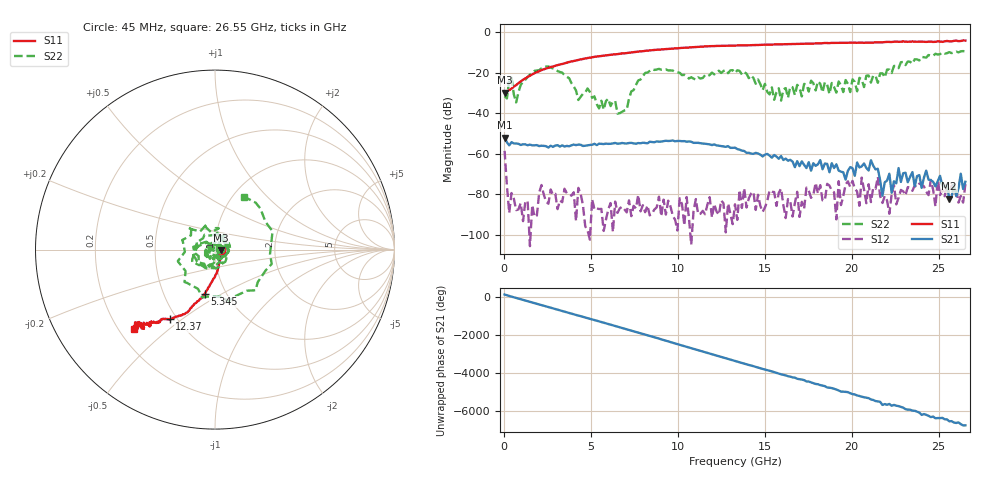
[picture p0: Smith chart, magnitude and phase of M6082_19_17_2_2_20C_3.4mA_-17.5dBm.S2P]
!  2-Port S-parameters saved by WinCal
! VAR MeasName=S-Parameters (CALIBRATED_DATA) read from VNA (C)
! VAR MeasDate=9/29/2015 4:37:43 PM
! VAR NAME=M6082_19_17_2_2_20C_3.4mA_-17.5dBm
! VAR FILENAME=M6082_19_17_2_2_20C_3.4mA_-17.5dBm.S2P
! VAR DATE=9/29/2015 4:37:43 PM
! VAR PHYS_PORTS=2,1
! VAR ObjTypeName=DATASET
! VAR IndexType=Frequency
# Hz S RI R 50
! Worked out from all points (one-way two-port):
!   201 points, 45 MHz to 26.55 GHz, reference 50 ohm
!   highest |S21| = -52.04 dB at 45 MHz (marker M1); lowest = -82.2 dB at 25.62 GHz (marker M2)
!   lowest |S11| = -29.7 dB at 45 MHz (marker M3), VSWR 1.07, Z = 53.4 - j0.174 ohm
!   |S11| at or under -10 dB: start of sweep to 7.219 GHz
!   |S22| runs from -40.2 to -9.2 dB; largest |S21 - S12| = 0.0037
!   S11 on the Smith chart (normalised r, x): 45 MHz: 1.07, -0.00; 5.345 GHz: 0.79, -0.42; 12.37 GHz: 0.46, -0.45; 26.55 GHz: 0.26, -0.39
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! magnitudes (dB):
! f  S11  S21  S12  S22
! 45 MHz  -29.7  -52.0  -58.6  -31.6
! 310 MHz  -28.5  -55.9  -89.3  -23.3
! 707.5 MHz  -26.1  -54.9  -87.9  -34.6
! 2.43 GHz  -17.9  -56.3  -83.8  -16.9
! 4.55 GHz  -13.2  -56.2  -85.4  -30.4
! 5.345 GHz  -11.9  -55.7  -87.1  -35.5
! 7.067 GHz  -10.2  -54.9  -89.0  -38.3
! 7.73 GHz  -9.5  -54.7  -80.4  -23.8
! 8.922 GHz  -8.5  -54.1  -81.3  -18.0
! 12.37 GHz  -6.7  -56.0  -90.2  -18.9
! 13.29 GHz  -6.5  -57.0  -85.0  -20.1
! 15.55 GHz  -5.9  -60.6  -79.0  -33.3
! 17.8 GHz  -5.5  -64.7  -80.3  -25.1
! 19.66 GHz  -5.1  -72.8  -75.3  -23.5
! 21.11 GHz  -5.1  -63.2  -83.9  -24.8
! 21.51 GHz  -4.9  -67.5  -71.5  -24.9
! 21.77 GHz  -4.9  -80.8  -84.4  -20.2
! 22.17 GHz  -4.7  -69.9  -89.7  -18.4
! 22.3 GHz  -4.7  -79.4  -80.1  -20.1
! 22.7 GHz  -4.6  -67.1  -81.8  -17.7
! 25.62 GHz  -4.4  -82.2  -79.6  -9.7
! 26.55 GHz  -4.0  -73.9  -75.1  -9.5
